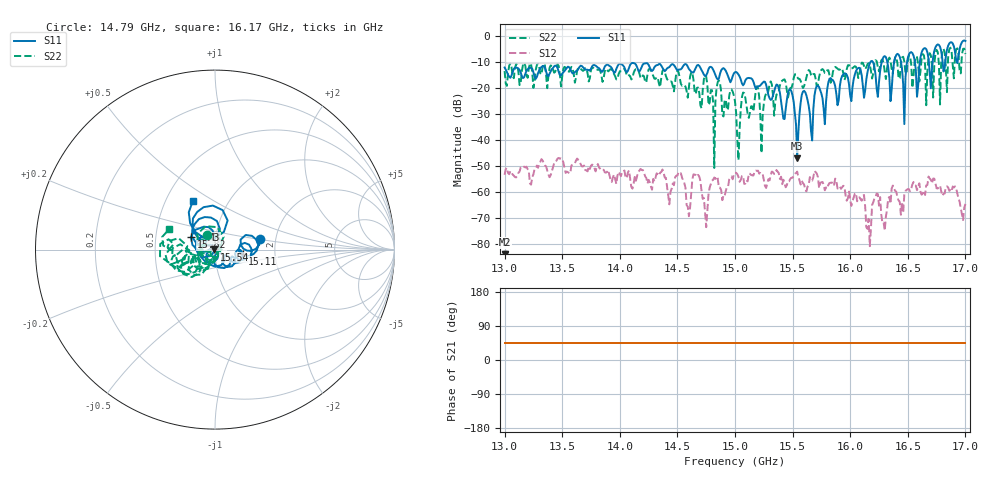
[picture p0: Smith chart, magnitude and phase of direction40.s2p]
!Keysight Technologies,P9374A,MY57211810,A.19.30.04
!Date: Friday, May 02, 2025 09:03:46
!Correction: S11(Off)
!S21(Off)
!S12(Off)
!S22(Off)
!S2P File: Measurements: S11, S21, S12, S22:
# Hz S  dB  R 50
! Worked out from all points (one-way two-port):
!   401 points, 13 GHz to 17 GHz, reference 50 ohm
!   highest |S21| = - dB at 13 GHz (marker M1); lowest = - dB at 13 GHz (marker M2)
!   lowest |S11| = -46.9 dB at 15.54 GHz (marker M3), VSWR 1.01, Z = 49.6 + j0.0847 ohm
!   |S11| at or under -10 dB: start of sweep to 16.18 GHz; 16.198 GHz to 16.27368 GHz (75.69 MHz wide, 0.466 % of centre); 16.32219 GHz to 16.38174 GHz (59.56 MHz wide, 0.364 % of centre) (the widest 3 of 8)
!   |S22| runs from -50.7 to -4.4 dB; largest |S21 - S12| = 0.0046
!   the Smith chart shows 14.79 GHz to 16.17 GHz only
!   S11 on the Smith chart (normalised r, x): 14.79 GHz: 1.65, +0.21; 15.11 GHz: 1.36, -0.07; 15.54 GHz: 0.99, +0.00; 15.82 GHz: 0.76, +0.11; 16.17 GHz: 0.68, +0.41
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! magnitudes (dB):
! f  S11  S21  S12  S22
! 13 GHz  -12.1  -  -53.3  -13.4
! 13.67 GHz  -11.5  -  -50.1  -13.0
! 14.34 GHz  -10.7  -  -53.6  -18.4
! 14.53 GHz  -12.8  -  -52.7  -18.3
! 14.6 GHz  -12.6  -  -69.2  -19.7
! 14.65 GHz  -13.1  -  -53.2  -21.6
! 14.74 GHz  -15.3  -  -67.8  -15.0
! 14.79 GHz  -11.8  -  -56.9  -20.7
! 15 GHz  -13.9  -  -52.5  -25.1
! 15.11 GHz  -16.1  -  -55.8  -29.9
! 15.42 GHz  -31.7  -  -55.2  -16.8
! 15.48 GHz  -20.4  -  -54.8  -19.9
! 15.54 GHz  -46.9  -  -52.0  -15.7
! 15.6 GHz  -21.0  -  -57.0  -19.2
! 15.67 GHz  -40.1  -  -55.5  -15.4
! 15.82 GHz  -16.4  -  -56.4  -14.9
! 16.17 GHz  -10.5  -  -80.7  -11.1
! 16.34 GHz  -16.0  -  -61.8  -8.3
! 16.41 GHz  -6.8  -  -62.0  -10.5
! 16.47 GHz  -33.8  -  -60.9  -9.8
! 16.7 GHz  -20.1  -  -55.2  -7.3
! 17 GHz  -1.9  -  -64.5  -6.9
